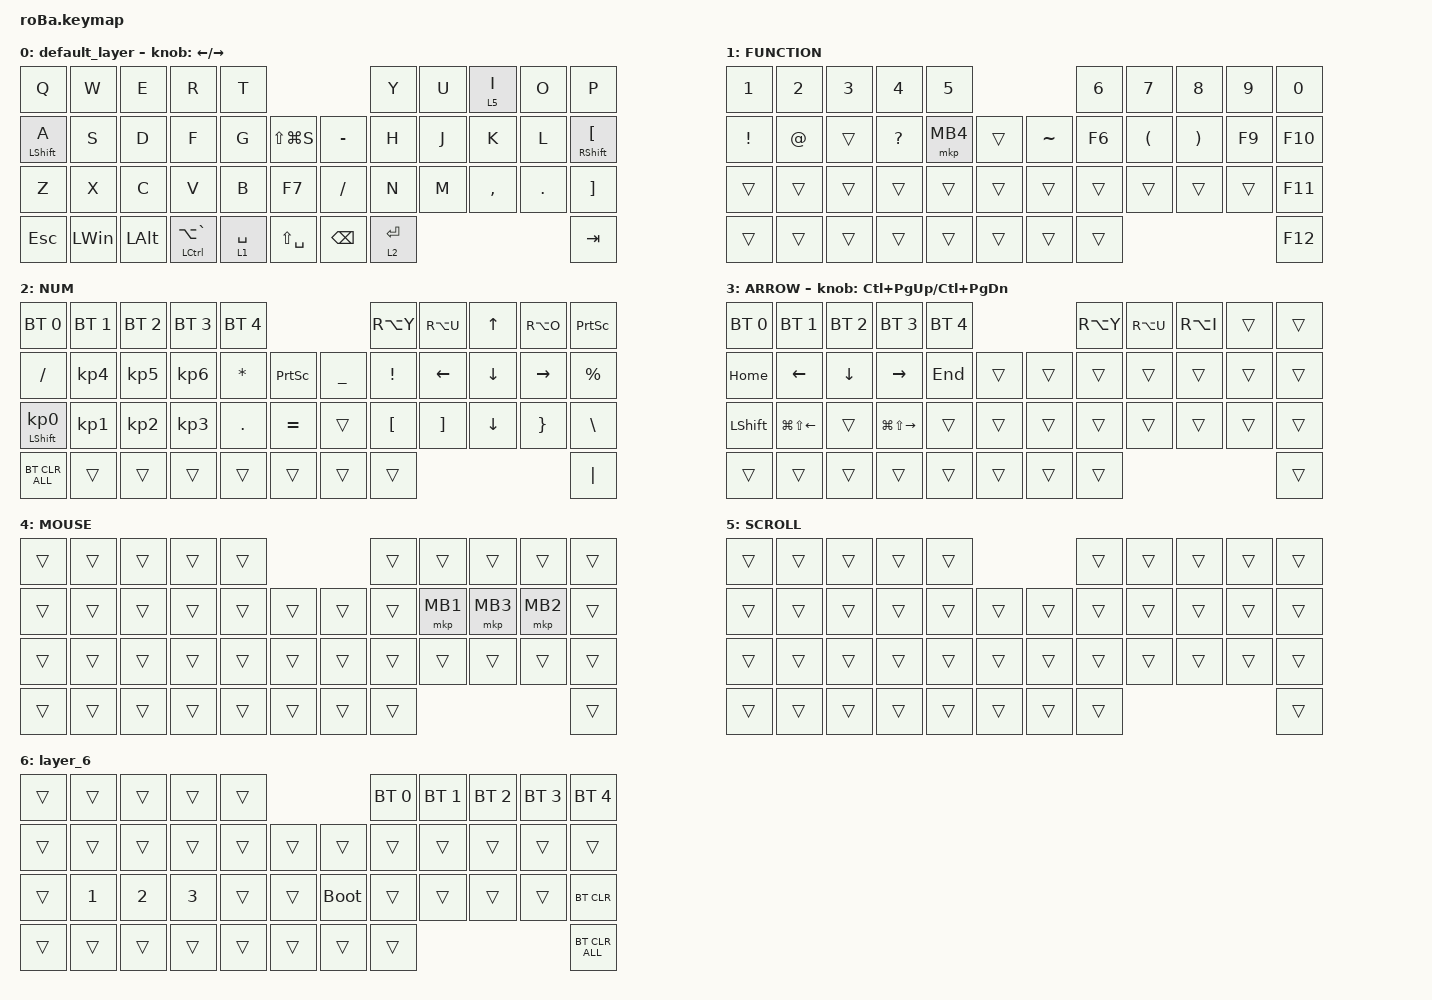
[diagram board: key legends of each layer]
#include <behaviors.dtsi>
#include <dt-bindings/zmk/bt.h>
#include <dt-bindings/zmk/keys.h>
#include <dt-bindings/zmk/pointing.h>

&mt {
    flavor = "balanced";
    quick-tap-ms = <0>;
};

&trackball {
    automouse-layer = <4>;
    scroll-layers = <5>;

    // arrows {
    //     layers = <3>;
    //     bindings =
    //         <&kp RIGHT_ARROW>,
    //         <&kp LEFT_ARROW>,
    //         <&kp UP_ARROW>,
    //         <&kp DOWN_ARROW>;
    //     tick = <10>;
    //     wait-ms = <5>;
    //     tap-ms = <5>;
    // };
};

/ {
    combos {
        compatible = "zmk,combos";

        tab {
            bindings = <&kp TAB>;
            key-positions = <11 12>;
        };

        shift_tab {
            bindings = <&kp LS(TAB)>;
            key-positions = <12 13>;
        };

        muhennkann {
            bindings = <&to_layer_0 INT_MUHENKAN>;
            key-positions = <11 10>;
        };

        double_quotation {
            bindings = <&kp DOUBLE_QUOTES>;
            key-positions = <20 21>;
        };

        eq {
            bindings = <&kp EQUAL>;
            key-positions = <24 25>;
        };
    };

    macros {
        to_layer_0: to_layer_0 {
            compatible = "zmk,behavior-macro-one-param";
            #binding-cells = <1>;
            bindings = <&to 0 &macro_param_1to1 &kp MACRO_PLACEHOLDER>;
            label = "TO_LAYER_0";
        };
    };

    behaviors {
        lt_to_layer_0: lt_to_layer_0 {
            compatible = "zmk,behavior-hold-tap";
            label = "LAYER_TAP_TO_0";
            bindings = <&mo>, <&to_layer_0>;

            #binding-cells = <2>;
            tapping-term-ms = <200>;
        };
    };

    keymap {
        compatible = "zmk,keymap";

        default_layer {
            bindings = <
&kp Q             &kp W         &kp E         &kp R                &kp T                                          &kp Y        &kp U  &lt 5 I    &kp O    &kp P
&mt LEFT_SHIFT A  &kp S         &kp D         &kp F                &kp G        &kp LS(LG(S))      &kp MINUS      &kp H        &kp J  &kp K      &kp L    &mt RIGHT_SHIFT LEFT_BRACKET
&kp Z             &kp X         &kp C         &kp V                &kp B        &kp F7             &kp SLASH      &kp N        &kp M  &kp COMMA  &kp DOT  &kp RIGHT_BRACKET
&kp ESCAPE        &kp LEFT_WIN  &kp LEFT_ALT  &mt LCTRL LA(GRAVE)  &lt 1 SPACE  &kp LS(SPACE)      &kp BACKSPACE  &lt 2 ENTER                             &kp TAB
            >;

            sensor-bindings = <&inc_dec_kp LEFT_ARROW RIGHT_ARROW>;
        };

        FUNCTION {
            bindings = <
&kp NUMBER_1     &kp NUMBER_2  &kp NUMBER_3  &kp NUMBER_4  &kp NUMBER_5                         &kp NUMBER_6  &kp NUMBER_7          &kp NUMBER_8           &kp NUMBER_9  &kp NUMBER_0
&kp EXCLAMATION  &kp AT_SIGN   &trans        &kp QUESTION  &mkp MB4      &trans      &kp TILDE  &kp F6        &kp LEFT_PARENTHESIS  &kp RIGHT_PARENTHESIS  &kp F9        &kp F10
&trans           &trans        &trans        &trans        &trans        &trans      &trans     &trans        &trans                &trans                 &trans        &kp F11
&trans           &trans        &trans        &trans        &trans        &trans      &trans     &trans                                                                   &kp F12
            >;
        };

        NUM {
            bindings = <
&bt BT_SEL 0                &bt BT_SEL 1     &bt BT_SEL 2     &bt BT_SEL 3     &bt BT_SEL 4                                       &kp RA(Y)         &kp RA(U)          &kp UP_ARROW    &kp RA(O)        &kp PRINTSCREEN
&kp SLASH                   &kp KP_NUMBER_4  &kp KP_NUMBER_5  &kp KP_NUMBER_6  &kp ASTERISK  &kp PRINTSCREEN      &kp UNDERSCORE  &kp EXCLAMATION   &kp LEFT_ARROW     &kp DOWN_ARROW  &kp RIGHT_ARROW  &kp PERCENT
&mt LEFT_SHIFT KP_NUMBER_0  &kp KP_NUMBER_1  &kp KP_NUMBER_2  &kp KP_NUMBER_3  &kp PERIOD    &kp EQUAL            &trans          &kp LEFT_BRACKET  &kp RIGHT_BRACKET  &kp DOWN_ARROW  &kp RIGHT_BRACE  &kp BACKSLASH
&bt BT_CLR_ALL              &trans           &trans           &trans           &trans        &trans               &trans          &trans                                                                &kp PIPE
            >;
        };

        ARROW {
            bindings = <
&bt BT_SEL 0    &bt BT_SEL 1            &bt BT_SEL 2    &bt BT_SEL 3             &bt BT_SEL 4                      &kp RA(Y)  &kp RA(U)  &kp RA(I)  &trans  &trans
&kp HOME        &kp LEFT_ARROW          &kp DOWN_ARROW  &kp RIGHT_ARROW          &kp END       &trans      &trans  &trans     &trans     &trans     &trans  &trans
&kp LEFT_SHIFT  &kp LG(LS(LEFT_ARROW))  &trans          &kp LG(LS(RIGHT_ARROW))  &trans        &trans      &trans  &trans     &trans     &trans     &trans  &trans
&trans          &trans                  &trans          &trans                   &trans        &trans      &trans  &trans                                   &trans
            >;

            sensor-bindings = <&inc_dec_kp LC(PAGE_UP) LC(PAGE_DOWN)>;
        };

        MOUSE {
            bindings = <
&trans  &trans  &trans  &trans  &trans                      &trans  &trans    &trans    &trans    &trans
&trans  &trans  &trans  &trans  &trans  &trans      &trans  &trans  &mkp MB1  &mkp MB3  &mkp MB2  &trans
&trans  &trans  &trans  &trans  &trans  &trans      &trans  &trans  &trans    &trans    &trans    &trans
&trans  &trans  &trans  &trans  &trans  &trans      &trans  &trans                                &trans
            >;
        };

        SCROLL {
            bindings = <
&trans  &trans  &trans  &trans  &trans                      &trans  &trans  &trans  &trans  &trans
&trans  &trans  &trans  &trans  &trans  &trans      &trans  &trans  &trans  &trans  &trans  &trans
&trans  &trans  &trans  &trans  &trans  &trans      &trans  &trans  &trans  &trans  &trans  &trans
&trans  &trans  &trans  &trans  &trans  &trans      &trans  &trans                          &trans
            >;
        };

        layer_6 {
            bindings = <
&trans  &trans        &trans        &trans        &trans                           &bt BT_SEL 0  &bt BT_SEL 1  &bt BT_SEL 2  &bt BT_SEL 3  &bt BT_SEL 4
&trans  &trans        &trans        &trans        &trans  &trans      &trans       &trans        &trans        &trans        &trans        &trans
&trans  &kp NUMBER_1  &kp NUMBER_2  &kp NUMBER_3  &trans  &trans      &bootloader  &trans        &trans        &trans        &trans        &bt BT_CLR
&trans  &trans        &trans        &trans        &trans  &trans      &trans       &trans                                                  &bt BT_CLR_ALL
            >;
        };
    };
};
